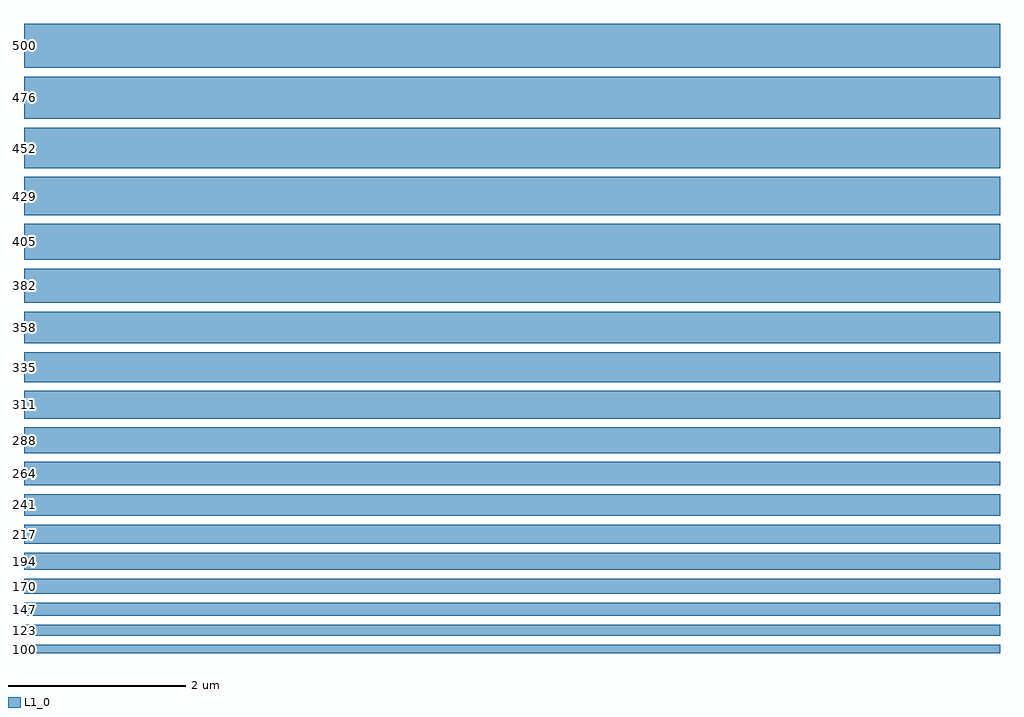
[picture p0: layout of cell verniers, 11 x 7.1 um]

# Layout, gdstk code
import gdstk
lib = gdstk.Library(unit=1e-6, precision=1e-09)
def R(c, l, rs):  # rectangles x0, y0, x1, y1
    for r in rs: c.add(gdstk.rectangle(r[:2], r[2:], *l))
L1_0 = (1, 0)

verniers = lib.new_cell('verniers')
R(verniers, L1_0, [(0,0,11,0.1), (0,0.2,11,0.324), (0,0.424,11,0.571), (0,0.671,11,0.841), (0,0.941,11,1.135), (0,1.235,11,1.453), (0,1.553,11,1.794), (0,1.894,11,2.159), (0,2.259,11,2.547), (0,2.647,11,2.959), (0,3.059,11,3.394), (0,3.494,11,3.853), (0,3.953,11,4.335), (0,4.435,11,4.841), (0,4.941,11,5.371), (0,5.471,11,5.924), (0,6.024,11,6.5), (0,6.6,11,7.1)])
verniers.add(gdstk.Label('100', (0,0.05), layer=66, texttype=0))
verniers.add(gdstk.Label('123', (0,0.262), layer=66, texttype=0))
verniers.add(gdstk.Label('147', (0,0.497), layer=66, texttype=0))
verniers.add(gdstk.Label('170', (0,0.756), layer=66, texttype=0))
verniers.add(gdstk.Label('194', (0,1.038), layer=66, texttype=0))
verniers.add(gdstk.Label('217', (0,1.344), layer=66, texttype=0))
verniers.add(gdstk.Label('241', (0,1.674), layer=66, texttype=0))
verniers.add(gdstk.Label('264', (0,2.026), layer=66, texttype=0))
verniers.add(gdstk.Label('288', (0,2.403), layer=66, texttype=0))
verniers.add(gdstk.Label('311', (0,2.803), layer=66, texttype=0))
verniers.add(gdstk.Label('335', (0,3.226), layer=66, texttype=0))
verniers.add(gdstk.Label('358', (0,3.674), layer=66, texttype=0))
verniers.add(gdstk.Label('382', (0,4.144), layer=66, texttype=0))
verniers.add(gdstk.Label('405', (0,4.638), layer=66, texttype=0))
verniers.add(gdstk.Label('429', (0,5.156), layer=66, texttype=0))
verniers.add(gdstk.Label('452', (0,5.697), layer=66, texttype=0))
verniers.add(gdstk.Label('476', (0,6.262), layer=66, texttype=0))
verniers.add(gdstk.Label('500', (0,6.85), layer=66, texttype=0))

lib.write_gds('verniers.gds')
